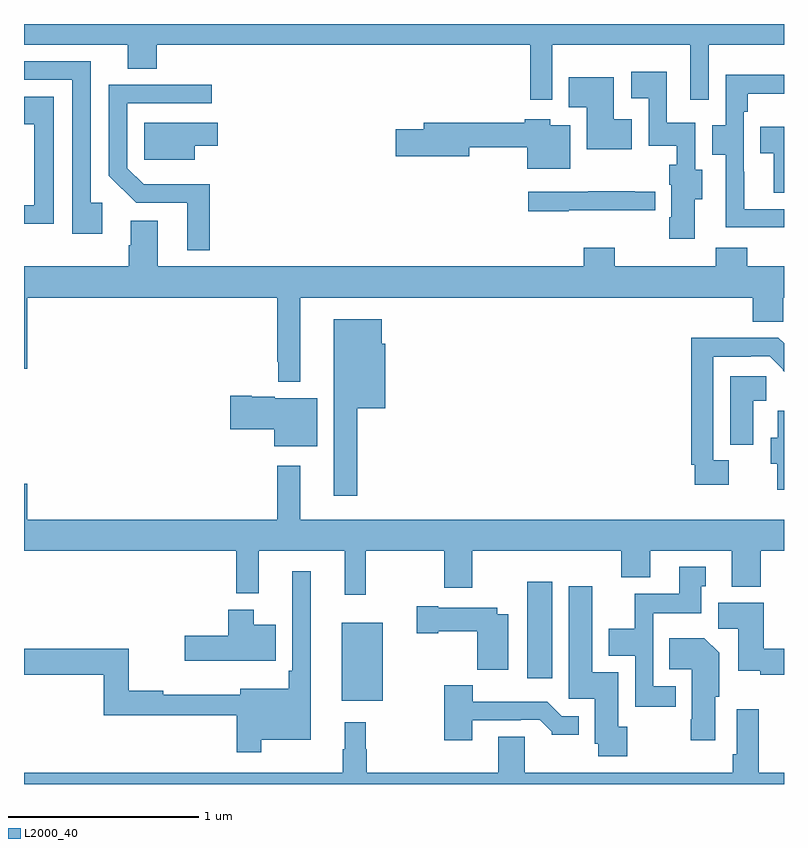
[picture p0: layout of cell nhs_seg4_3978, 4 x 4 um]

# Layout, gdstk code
import gdstk
lib = gdstk.Library(unit=1e-6, precision=1e-09)
def R(c, l, rs):  # rectangles x0, y0, x1, y1
    for r in rs: c.add(gdstk.rectangle(r[:2], r[2:], *l))
def P(c, l, *ps):  # polygons
    for p in ps: c.add(gdstk.Polygon(p, *l))
L2000_40 = (2000, 40)

nhs_seg4_3978 = lib.new_cell('nhs_seg4_3978')
R(nhs_seg4_3978, L2000_40, [(322.673,821.339,322.888,821.749), (323.648,821.457,323.779,821.965)])
P(nhs_seg4_3978, L2000_40, [(323.781,824.792),(324.507,824.792),(324.507,824.502),(324.603,824.502),(324.603,824.792),(325,824.792),(325,824.9),(321,824.9),(321,824.792),(321.545,824.792),(321.545,824.665),(321.698,824.665),(321.698,824.792),(323.665,824.792),(323.665,824.502),(323.781,824.502)],
  [(321.412,823.958),(321.351,823.958),(321.351,824.703),(321,824.703),(321,824.607),(321.255,824.607),(321.255,823.797),(321.412,823.797)],
  [(324.529,823.978),(324.571,823.978),(324.571,824.133),(324.534,824.133),(324.534,824.38),(324.384,824.38),(324.384,824.65),(324.195,824.65),(324.195,824.51),(324.288,824.51),(324.288,824.258),(324.436,824.258),(324.436,824.158),(324.395,824.158),(324.395,824.054),(324.407,824.054),(324.407,823.882),(324.396,823.882),(324.396,823.77),(324.529,823.77)],
  [(325,823.926),(324.79,823.926),(324.79,824.123),(324.789,824.123),(324.789,824.438),(324.809,824.438),(324.809,824.534),(325,824.534),(325,824.632),(324.693,824.632),(324.693,824.367),(324.623,824.367),(324.623,824.212),(324.693,824.212),(324.693,823.83),(325,823.83)],
  [(324.199,824.398),(324.103,824.398),(324.103,824.62),(323.866,824.62),(323.866,824.462),(323.963,824.462),(323.963,824.24),(324.199,824.24)],
  [(321.977,824.056),(321.629,824.056),(321.543,824.142),(321.543,824.484),(321.988,824.484),(321.988,824.58),(321.447,824.58),(321.447,824.102),(321.59,823.959),(321.86,823.959),(321.86,823.71),(321.977,823.71)],
  [(321.157,824.518),(321,824.518),(321,824.372),(321.053,824.372),(321.053,823.947),(321,823.947),(321,823.849),(321.157,823.849)],
  [(323.875,824.368),(323.77,824.368),(323.77,824.398),(323.636,824.398),(323.636,824.38),(323.105,824.38),(323.105,824.346),(322.956,824.346),(322.956,824.204),(323.344,824.204),(323.344,824.251),(323.648,824.251),(323.648,824.138),(323.875,824.138)],
  [(321.898,824.258),(322.021,824.258),(322.021,824.38),(321.633,824.38),(321.633,824.186),(321.898,824.186)],
  [(325,824.359),(324.874,824.359),(324.874,824.219),(324.947,824.219),(324.947,824.011),(325,824.011)],
  [(323.867,823.919),(324.322,823.919),(324.322,824.018),(324.215,824.018),(324.215,824.019),(323.971,824.019),(323.971,824.016),(323.655,824.016),(323.655,823.915),(323.867,823.915)],
  [(322.453,823.46),(324.836,823.46),(324.836,823.334),(324.997,823.334),(324.997,823.46),(325,823.46),(325,823.624),(324.806,823.624),(324.806,823.723),(324.641,823.723),(324.641,823.624),(324.11,823.624),(324.11,823.723),(323.945,823.723),(323.945,823.624),(321.703,823.624),(321.703,823.864),(321.563,823.864),(321.563,823.736),(321.551,823.736),(321.551,823.624),(321,823.624),(321,823.086),(321.016,823.086),(321.016,823.46),(322.332,823.46),(322.332,823.123),(322.339,823.123),(322.339,823.016),(322.453,823.016)],
  [(322.753,822.878),(322.9,822.878),(322.9,823.218),(322.882,823.218),(322.882,823.345),(322.631,823.345),(322.631,822.417),(322.753,822.417)],
  [(324.71,822.604),(324.627,822.604),(324.627,823.148),(324.824,823.148),(324.824,823.152),(324.924,823.152),(324.996,823.08),(324.993,823.077),(325,823.07),(325,823.22),(324.971,823.249),(324.511,823.249),(324.511,822.58),(324.531,822.58),(324.531,822.476),(324.71,822.476)],
  [(324.838,822.917),(324.907,822.917),(324.907,823.046),(324.716,823.046),(324.716,822.685),(324.838,822.685)],
  [(322.543,822.931),(322.32,822.931),(322.32,822.937),(322.198,822.937),(322.198,822.944),(322.086,822.944),(322.086,822.766),(322.316,822.766),(322.316,822.677),(322.543,822.677)],
  [(325,822.865),(324.968,822.865),(324.968,822.723),(324.929,822.723),(324.929,822.586),(324.965,822.586),(324.965,822.45),(325,822.45)],
  [(322.798,822.128),(323.212,822.128),(323.212,821.934),(323.359,821.934),(323.359,822.128),(324.143,822.128),(324.143,821.987),(324.295,821.987),(324.295,822.128),(324.725,822.128),(324.725,821.939),(324.878,821.939),(324.878,822.128),(325,822.128),(325,822.292),(322.453,822.292),(322.453,822.574),(322.332,822.574),(322.332,822.292),(321.016,822.292),(321.016,822.481),(321,822.481),(321,822.128),(322.117,822.128),(322.117,821.903),(322.235,821.903),(322.235,822.128),(322.688,822.128),(322.688,821.895),(322.798,821.895)],
  [(324.43,821.415),(324.312,821.415),(324.312,821.798),(324.565,821.798),(324.565,821.94),(324.589,821.94),(324.589,822.043),(324.449,822.043),(324.449,821.902),(324.214,821.902),(324.214,821.716),(324.077,821.716),(324.077,821.576),(324.216,821.576),(324.216,821.307),(324.43,821.307)],
  [(322.249,821.132),(322.51,821.132),(322.51,822.019),(322.413,822.019),(322.413,821.497),(322.393,821.497),(322.393,821.401),(322.139,821.401),(322.139,821.371),(321.734,821.371),(321.734,821.39),(321.55,821.39),(321.55,821.612),(321,821.612),(321,821.476),(321.421,821.476),(321.421,821.262),(322.12,821.262),(322.12,821.067),(322.249,821.067)],
  [(324.174,821.202),(324.127,821.202),(324.127,821.488),(323.992,821.488),(323.992,821.941),(323.867,821.941),(323.867,821.349),(324.005,821.349),(324.005,821.112),(324.022,821.112),(324.022,821.046),(324.174,821.046)],
  [(325,821.612),(324.893,821.612),(324.893,821.854),(324.653,821.854),(324.653,821.716),(324.758,821.716),(324.758,821.495),(324.874,821.495),(324.874,821.476),(325,821.476)],
  [(323.548,821.794),(323.49,821.794),(323.49,821.827),(323.179,821.827),(323.179,821.835),(323.067,821.835),(323.067,821.693),(323.179,821.693),(323.179,821.705),(323.386,821.705),(323.386,821.501),(323.548,821.501)],
  [(322.324,821.737),(322.21,821.737),(322.21,821.818),(322.076,821.818),(322.076,821.679),(321.846,821.679),(321.846,821.549),(322.324,821.549)],
  [(324.637,821.358),(324.658,821.358),(324.658,821.59),(324.58,821.668),(324.397,821.668),(324.397,821.504),(324.515,821.504),(324.515,821.242),(324.508,821.242),(324.508,821.13),(324.637,821.13)],
  [(323.359,821.235),(323.615,821.235),(323.615,821.238),(323.714,821.238),(323.778,821.174),(323.778,821.159),(323.92,821.159),(323.92,821.256),(323.829,821.256),(323.753,821.332),(323.362,821.332),(323.362,821.419),(323.212,821.419),(323.212,821.13),(323.359,821.13)],
  [(325,820.96),(324.866,820.96),(324.866,821.293),(324.75,821.293),(324.75,821.056),(324.73,821.056),(324.73,820.96),(323.635,820.96),(323.635,821.15),(323.495,821.15),(323.495,820.96),(322.805,820.96),(322.805,821.084),(322.798,821.084),(322.798,821.224),(322.688,821.224),(322.688,821.084),(322.677,821.084),(322.677,820.96),(321,820.96),(321,820.9),(325,820.9)])

lib.write_gds('nhs_seg4_3978.gds')
